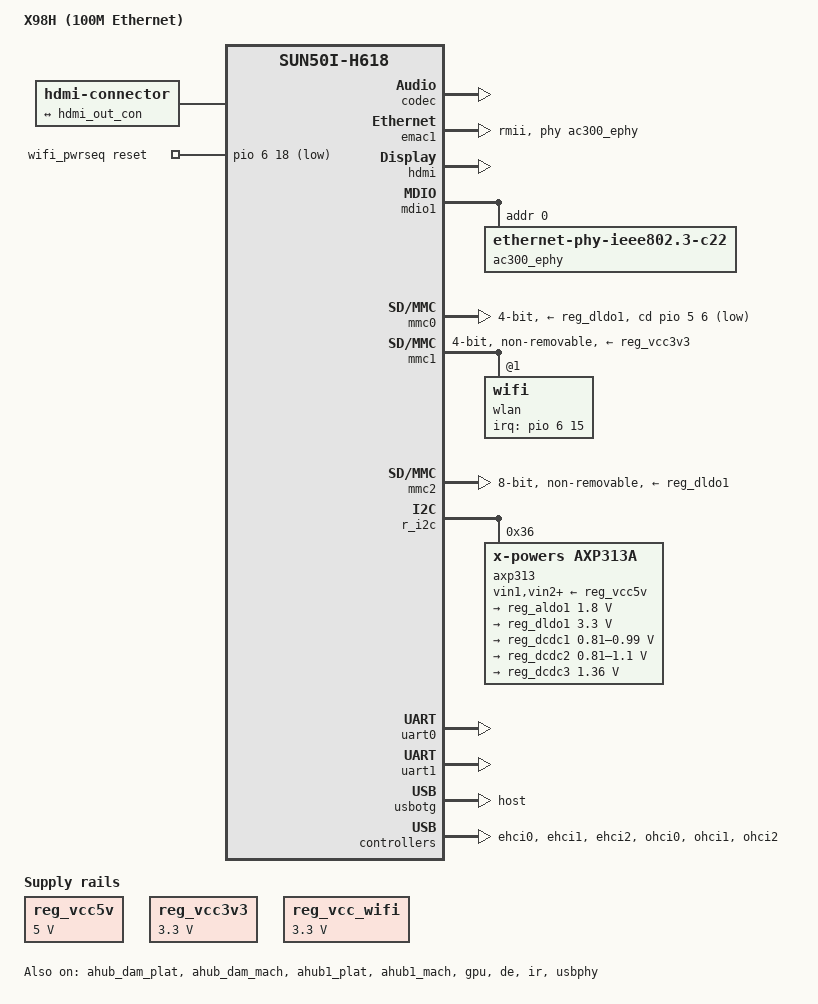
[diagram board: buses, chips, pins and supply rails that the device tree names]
// SPDX-License-Identifier: (GPL-2.0+ OR MIT)


/dts-v1/;

#include "sun50i-h616.dtsi"
#include "sun50i-h616-cpu-opp.dtsi"

#include <dt-bindings/gpio/gpio.h>
#include <dt-bindings/interrupt-controller/arm-gic.h>

/ {
	model = "X98H (100M Ethernet)";
	compatible = "vontar,x98h-100mb", "allwinner,sun50i-h618";

	aliases {
		ethernet0 = &emac1;
		ethernet1 = &wlan;
		serial0 = &uart0;
	};

	chosen {
		stdout-path = "serial0:115200n8";
	};

	connector {
		compatible = "hdmi-connector";
		type = "a";

		port {
			hdmi_con_in: endpoint {
				remote-endpoint = <&hdmi_out_con>;
			};
		};
	};

	reg_vcc5v: vcc5v {
		compatible = "regulator-fixed";
		regulator-name = "vcc-5v";
		regulator-min-microvolt = <5000000>;
		regulator-max-microvolt = <5000000>;
		regulator-always-on;
	};

	reg_vcc3v3: vcc3v3 {
		compatible = "regulator-fixed";
		regulator-name = "vcc-3v3";
		regulator-min-microvolt = <3300000>;
		regulator-max-microvolt = <3300000>;
		regulator-always-on;
	};

	reg_vcc_wifi: reg_vcc_wifi {
		compatible = "regulator-fixed";
		regulator-name = "vcc-wifi";
		regulator-min-microvolt = <3300000>;
		regulator-max-microvolt = <3300000>;
		enable-active-high;
		regulator-always-on;
	};

	wifi_pwrseq: wifi_pwrseq {
		compatible = "mmc-pwrseq-simple";
		reset-gpios = <&pio 6 18 GPIO_ACTIVE_LOW>; /* PG18 WL_REG_ON */
	};
};

&cpu0 {
	cpu-supply = <&reg_dcdc2>;
};

&ahub_dam_plat {
	status = "okay";
};

&ahub_dam_mach {
	status = "okay";
};

&ahub1_plat {
	status = "okay";
};

&ahub1_mach {
	status = "okay";
};

&codec {
	allwinner,audio-routing =
		"Line Out", "LINEOUT";
	status = "okay";
};

&emac1 {
	pinctrl-names = "default";
	pinctrl-0 = <&rmii_pins>;
	phy-mode = "rmii";
	phy-handle = <&ac300_ephy>;
	allwinner,tx-delay-ps = <700>;
	allwinner,rx-delay-ps = <3100>;
	status = "okay";
};

&gpu {
	mali-supply = <&reg_dcdc1>;
	status = "okay";
};

&hdmi {
	hvcc-supply = <&reg_aldo1>;
	status = "okay";
};

&hdmi_out {
	hdmi_out_con: endpoint {
		remote-endpoint = <&hdmi_con_in>;
	};
};

&de {
	status = "okay";
};

&ir {
	status = "okay";
};

&mdio1 {
	/* AC300 EPHY sits at addr 0; its control unit (id 0xc0000000) is at addr 16 */
	ac300_ephy: ethernet-phy@0 {
		compatible = "ethernet-phy-ieee802.3-c22";
		reg = <0>;
	};
};

&mmc0 {
	vmmc-supply = <&reg_dldo1>;
	cd-gpios = <&pio 5 6 (GPIO_ACTIVE_LOW | GPIO_PULL_DOWN)>; /* PF6 */
	bus-width = <4>;
	status = "okay";
};

&mmc1 {
	vmmc-supply = <&reg_vcc3v3>;
	mmc-pwrseq = <&wifi_pwrseq>;
	bus-width = <4>;
	non-removable;
	max-frequency = <35000000>;
	status = "okay";

	wlan: wifi@1 {
		reg = <1>;
		interrupt-parent = <&pio>;
		interrupts = <6 15 IRQ_TYPE_EDGE_RISING>; /* PG15 WL_HOSTWAKE */
		interrupt-names = "host-wake";
	};
};

&mmc2 {
	vmmc-supply = <&reg_dldo1>;
	vqmmc-supply = <&reg_aldo1>;
	bus-width = <8>;
	non-removable;
	cap-mmc-hw-reset;
	mmc-ddr-1_8v;
	mmc-hs200-1_8v;
	status = "okay";
};

&r_i2c {
	status = "okay";

	axp313: pmic@36 {
		compatible = "x-powers,axp313a";
		reg = <0x36>;
		#interrupt-cells = <1>;
		interrupt-controller;

		vin1-supply = <&reg_vcc5v>;
		vin2-supply = <&reg_vcc5v>;
		vin3-supply = <&reg_vcc5v>;

		regulators {
			reg_aldo1: aldo1 {
				regulator-always-on;
				regulator-min-microvolt = <1800000>;
				regulator-max-microvolt = <1800000>;
				regulator-name = "vcc-1v8-pll";
			};

			reg_dldo1: dldo1 {
				regulator-always-on;
				regulator-min-microvolt = <3300000>;
				regulator-max-microvolt = <3300000>;
				regulator-name = "vcc-3v3-io-mmc";
			};

			reg_dcdc1: dcdc1 {
				regulator-always-on;
				regulator-min-microvolt = <810000>;
				regulator-max-microvolt = <990000>;
				regulator-name = "vdd-gpu-sys";
			};

			reg_dcdc2: dcdc2 {
				regulator-always-on;
				regulator-min-microvolt = <810000>;
				regulator-max-microvolt = <1100000>;
				regulator-settling-time-up-us = <1000>;
				regulator-name = "vdd-cpu";
			};

			reg_dcdc3: dcdc3 {
				regulator-always-on;
				regulator-min-microvolt = <1360000>;
				regulator-max-microvolt = <1360000>;
				regulator-name = "vdd-dram";
			};
		};
	};
};

&pio {
	vcc-pc-supply = <&reg_aldo1>;
	vcc-pg-supply = <&reg_dldo1>;
	vcc-ph-supply = <&reg_dldo1>;
	vcc-pi-supply = <&reg_dldo1>;
};

&uart0 {
	pinctrl-names = "default";
	pinctrl-0 = <&uart0_ph_pins>;
	status = "okay";
};

&uart1 {
	pinctrl-names = "default";
	pinctrl-0 = <&uart1_pins>, <&uart1_rts_cts_pins>;
	uart-has-rtscts;
	status = "okay";
};

&usbotg {
	dr_mode = "host";
	status = "okay";
};

&usbphy {
	status = "okay";
};

&ehci0 {
	status = "okay";
};

&ehci1 {
	status = "okay";
};

&ehci2 {
	status = "okay";
};

&ohci0 {
	status = "okay";
};

&ohci1 {
	status = "okay";
};

&ohci2 {
	status = "okay";
};
